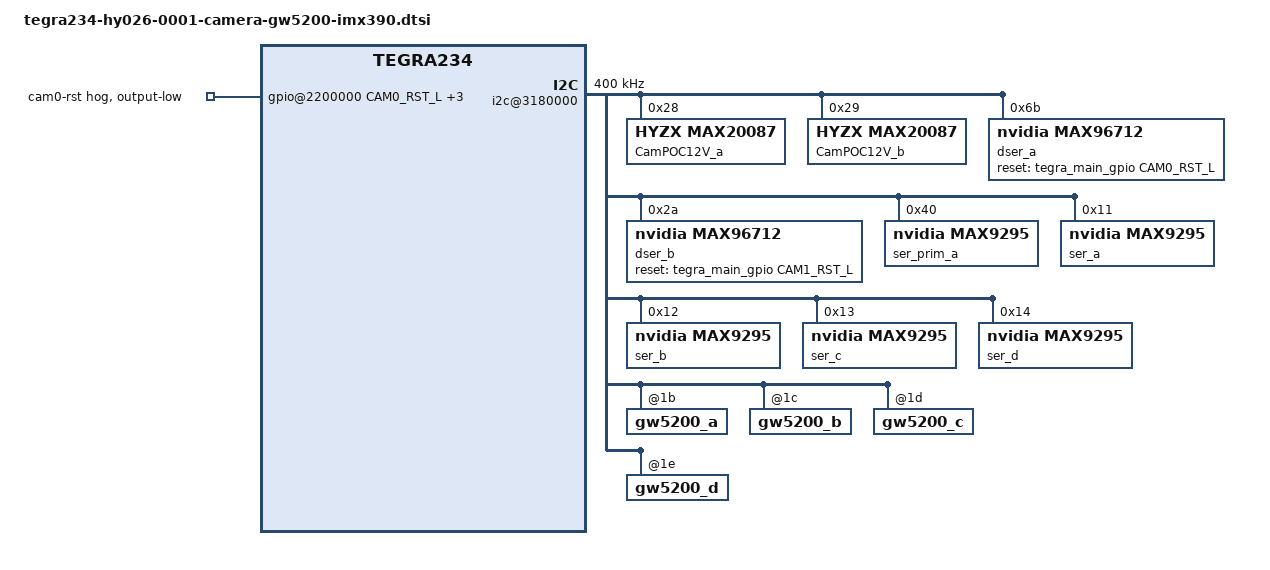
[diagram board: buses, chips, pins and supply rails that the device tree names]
/*
 * Copyright (c) 2018-2019, NVIDIA CORPORATION.  All rights reserved.
 *
 * This program is free software; you can redistribute it and/or modify
 * it under the terms of the GNU General Public License as published by
 * the Free Software Foundation; either version 2 of the License, or
 * (at your option) any later version.
 *
 * This program is distributed in the hope that it will be useful, but WITHOUT
 * ANY WARRANTY; without even the implied warranty of MERCHANTABILITY or
 * FITNESS FOR A PARTICULAR PURPOSE.  See the GNU General Public License for
 * more details.
 *
 * You should have received a copy of the GNU General Public License
 * along with this program.  If not, see <http://www.gnu.org/licenses/>.
 */
#include <t234-common-modules/tegra234-hy026-0001-camera-gw5200-imx390.dtsi>
#include "dt-bindings/clock/tegra234-clock.h"

#define CAMERA_I2C_MUX_BUS(x) (0x1E + x)

/* camera control gpio definitions */

/ {

	/* set camera gpio direction to output */
	gpio@2200000 {
		camera-control-output-low {
			gpio-hog;
			output-low;
			gpios = <CAM0_RST_L 0 CAM1_RST_L 0
				 CAM2_RST_L 0 CAM3_RST_L 0>;

			label = "cam0-rst", "cam1-rst",
				"cam2-rst", "cam3-rst";
		};
	};

	i2c@3180000 {
		clock-frequency = <400000>;
	
        CamPOC12V_a: max2008X@00{
            compatible = "HYZX,max20087";
            reg = <0x28>;
            out-ports = <4>;
            out-boot-on = <1 1 1 1>;
            power-on-delay = <250>;
            status = "okay";
        };
        CamPOC12V_b: max2008X@01{
            compatible = "HYZX,max20087";
            reg = <0x29>;
            out-ports = <4>;
            out-boot-on = <1 1 1 1>;
            power-on-delay = <250>;
            status = "okay";
        };

		/* max96712 A: 0x6b */
		dser_a: max96712_a@6b{
			compatible = "nvidia,max96712";
			reg = <0x6b>;
			/* two of the 2-trio PHYs are combined as 4-trio */
			csi-mode = "2x4";
			max-src = <4>;
			dser-num = <0>;
			mipi-clk = <600>;  /* mipi-clk: MHz */
			gmsl-mode = "gmsl-2";  /* Example: "gmsl-1", "gmsl-2", "gmsl-2-3G" */
			reset-gpios = <&tegra_main_gpio CAM0_RST_L GPIO_ACTIVE_HIGH>;
		};

		/* max96712 B: 0x2a */
		dser_b: max96712_b@2a{
			compatible = "nvidia,max96712";
			reg = <0x2a>;
			csi-mode = "2x4";
			max-src = <4>;
			dser-num = <1>;
			mipi-clk = <600>;  /* mipi-clk: MHz */
			gmsl-mode = "gmsl-2";  /* Example: "gmsl-1", "gmsl-2", "gmsl-2-3G" */
			reset-gpios = <&tegra_main_gpio CAM1_RST_L GPIO_ACTIVE_HIGH>;
		};

		ser_prim_a: max9295_prim@40 {
			compatible = "nvidia,max9295";
			reg = <0x40>;
			group=<0>;
			is-prim-ser;
		};
		ser_a: max9295_a@11 {
			compatible = "nvidia,max9295";
			reg = <0x11>;
			group=<0>;
			dser-num = <0>;
			nvidia,gmsl-dser-device = <&dser_a>;
		};
		ser_b: max9295_b@12 {
			compatible = "nvidia,max9295";
			reg = <0x12>;
			group=<0>;
			dser-num = <0>;
			nvidia,gmsl-dser-device = <&dser_a>;
		};
		ser_c: max9295_c@13 {
			compatible = "nvidia,max9295";
			reg = <0x13>;
			group=<0>;
			dser-num = <0>;
			nvidia,gmsl-dser-device = <&dser_a>;
		};
		ser_d: max9295_d@14 {
			compatible = "nvidia,max9295";
			reg = <0x14>;
			group=<0>;
			dser-num = <0>;
			nvidia,gmsl-dser-device = <&dser_a>;
		};
		gw5200_a@1b {
			def-addr = <0x6d>;
			clocks = <&bpmp_clks TEGRA234_CLK_EXTPERIPH1>,
					<&bpmp_clks TEGRA234_CLK_EXTPERIPH1>;
			clock-names = "extperiph1", "pllp_grtba";
			mclk = "extperiph1";
			dser-num = <0>;
			dser-type = "max96712";
			nvidia,gmsl-ser-device = <&ser_a>;
			nvidia,gmsl-dser-device = <&dser_a>;
			gmsl-link {
				//frame-sync-en;
			};
		};
		gw5200_b@1c {
			def-addr = <0x6d>;
			clocks = <&bpmp_clks TEGRA234_CLK_EXTPERIPH1>,
					<&bpmp_clks TEGRA234_CLK_EXTPERIPH1>;
			clock-names = "extperiph1", "pllp_grtba";
			mclk = "extperiph1";
			dser-num = <0>;
			dser-type = "max96712";
			nvidia,gmsl-ser-device = <&ser_b>;
			nvidia,gmsl-dser-device = <&dser_a>;
			gmsl-link {
				//frame-sync-en;
			};
		};
		gw5200_c@1d {
			def-addr = <0x6d>;
			clocks = <&bpmp_clks TEGRA234_CLK_EXTPERIPH1>,
					<&bpmp_clks TEGRA234_CLK_EXTPERIPH1>;
			clock-names = "extperiph1", "pllp_grtba";
			mclk = "extperiph1";
			dser-num = <0>;
			dser-type = "max96712";
			nvidia,gmsl-ser-device = <&ser_c>;
			nvidia,gmsl-dser-device = <&dser_a>;
			gmsl-link {
				//frame-sync-en;
			};
		};
		gw5200_d@1e {
			def-addr = <0x6d>;
			clocks = <&bpmp_clks TEGRA234_CLK_EXTPERIPH1>,
					<&bpmp_clks TEGRA234_CLK_EXTPERIPH1>;
			clock-names = "extperiph1", "pllp_grtba";
			mclk = "extperiph1";
			dser-num = <0>;
			dser-type = "max96712";
			nvidia,gmsl-ser-device = <&ser_d>;
			nvidia,gmsl-dser-device = <&dser_a>;
			gmsl-link {
				//frame-sync-en;
			};
		};
	};

};
